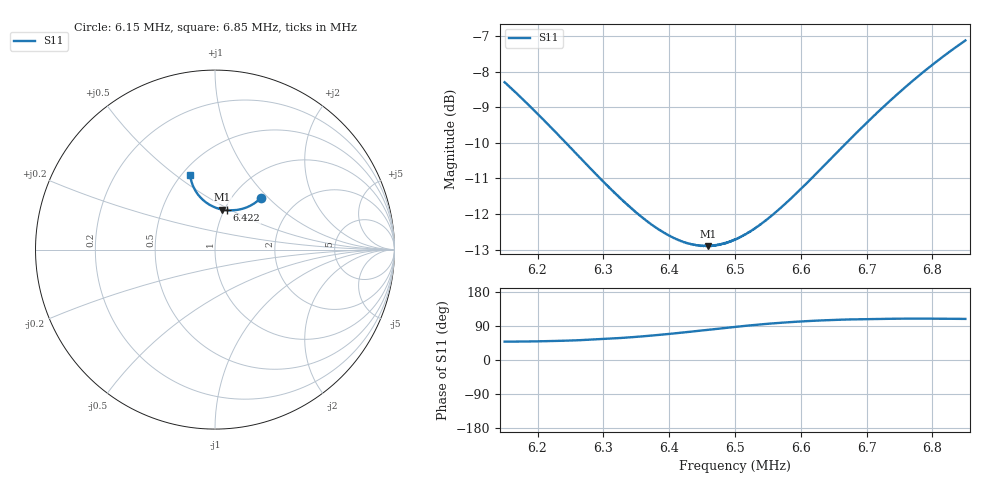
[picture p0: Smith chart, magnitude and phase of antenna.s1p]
! Calibrated high-resolution NanoVNA antenna measurement
# Hz S RI R 50
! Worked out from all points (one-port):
!   1801 points, 6.15 MHz to 6.85 MHz, reference 50 ohm
!   lowest |S11| = -12.9 dB at 6.46 MHz (marker M1), VSWR 1.59, Z = 48.8 + j22.9 ohm
!   |S11| at or under -10 dB: 6.243 MHz to 6.669 MHz (426.1 kHz wide, 6.6 % of centre)
!   S11 on the Smith chart (normalised r, x): 6.15 MHz: 1.34, +0.90; 6.422 MHz: 1.03, +0.48; 6.85 MHz: 0.55, +0.57
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6150000  0.2551 0.2878
6156222  0.2517 0.2846
6189667  0.233 0.2678
6237500  0.2026 0.2476
6260834  0.1867 0.2397
6283000  0.1711 0.2334
6325000  0.1404 0.2243
6349500  0.1224 0.221
6372055  0.1053 0.2191
6393444  0.0896 0.2185
6412500  0.0752 0.2188
6422222  0.0678 0.2191
6441278  0.0535 0.2206
6459555  0.04 0.2228
6479778  0.0252 0.2266
6500000  0.0105 0.231
6519056  -0.00292 0.2362
6538111  -0.0159 0.2422
6562222  -0.0318 0.2508
6587500  -0.0477 0.2611
6633389  -0.0737 0.283
6675000  -0.094 0.3058
6718555  -0.1114 0.3322
6762500  -0.1247 0.3601
6785444  -0.13 0.3752
6810333  -0.1346 0.3915
6840667  -0.1383 0.4115
6850000  -0.1391 0.4177
